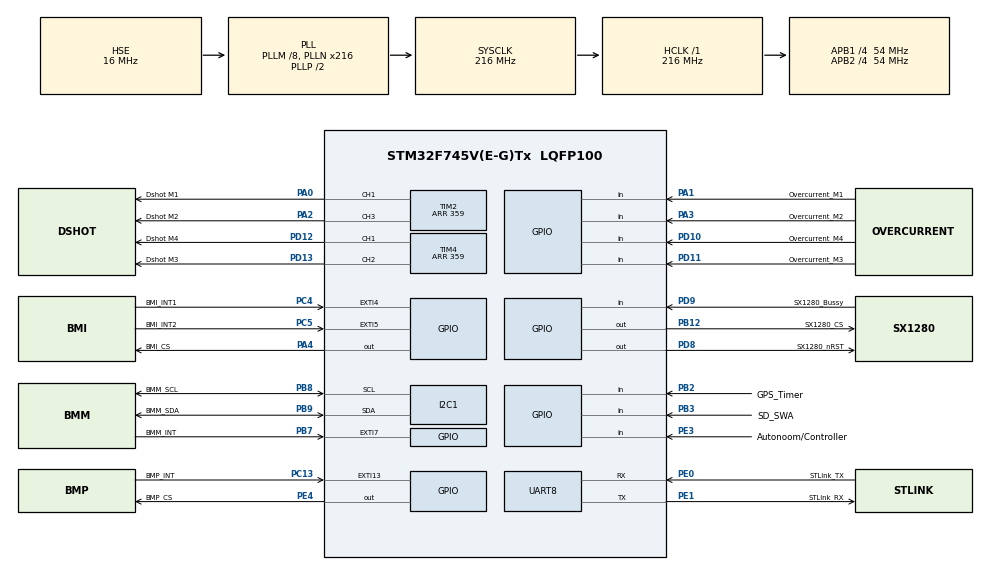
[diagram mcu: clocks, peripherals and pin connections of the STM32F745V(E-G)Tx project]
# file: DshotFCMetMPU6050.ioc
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CORTEX_M7.default_mode_Activation=1
Dma.Request0=TIM2_CH1
Dma.Request1=TIM2_UP/CH3
Dma.Request2=TIM4_CH1
Dma.Request3=TIM4_CH2
Dma.TIM2_CH1.0.Direction=DMA_MEMORY_TO_PERIPH
Dma.TIM2_CH1.0.FIFOMode=DMA_FIFOMODE_DISABLE
Dma.TIM2_CH1.0.Instance=DMA1_Stream5
Dma.TIM2_CH1.0.MemDataAlignment=DMA_MDATAALIGN_WORD
Dma.TIM2_CH1.0.MemInc=DMA_MINC_ENABLE
Dma.TIM2_CH1.0.Mode=DMA_NORMAL
Dma.TIM2_CH1.0.PeriphDataAlignment=DMA_PDATAALIGN_WORD
Dma.TIM2_CH1.0.PeriphInc=DMA_PINC_DISABLE
Dma.TIM2_CH1.0.Priority=DMA_PRIORITY_VERY_HIGH
Dma.TIM2_UP/CH3.1.Direction=DMA_MEMORY_TO_PERIPH
Dma.TIM2_UP/CH3.1.FIFOMode=DMA_FIFOMODE_DISABLE
Dma.TIM2_UP/CH3.1.Instance=DMA1_Stream1
Dma.TIM2_UP/CH3.1.MemDataAlignment=DMA_MDATAALIGN_WORD
Dma.TIM2_UP/CH3.1.MemInc=DMA_MINC_ENABLE
Dma.TIM2_UP/CH3.1.Mode=DMA_NORMAL
Dma.TIM2_UP/CH3.1.PeriphDataAlignment=DMA_PDATAALIGN_WORD
Dma.TIM2_UP/CH3.1.PeriphInc=DMA_PINC_DISABLE
Dma.TIM2_UP/CH3.1.Priority=DMA_PRIORITY_VERY_HIGH
Dma.TIM4_CH1.2.Direction=DMA_MEMORY_TO_PERIPH
Dma.TIM4_CH1.2.FIFOMode=DMA_FIFOMODE_DISABLE
Dma.TIM4_CH1.2.Instance=DMA1_Stream0
Dma.TIM4_CH1.2.MemDataAlignment=DMA_MDATAALIGN_WORD
Dma.TIM4_CH1.2.MemInc=DMA_MINC_ENABLE
Dma.TIM4_CH1.2.Mode=DMA_NORMAL
Dma.TIM4_CH1.2.PeriphDataAlignment=DMA_PDATAALIGN_WORD
Dma.TIM4_CH1.2.PeriphInc=DMA_PINC_DISABLE
Dma.TIM4_CH1.2.Priority=DMA_PRIORITY_VERY_HIGH
Dma.TIM4_CH2.3.Direction=DMA_MEMORY_TO_PERIPH
Dma.TIM4_CH2.3.FIFOMode=DMA_FIFOMODE_DISABLE
Dma.TIM4_CH2.3.Instance=DMA1_Stream3
Dma.TIM4_CH2.3.MemDataAlignment=DMA_MDATAALIGN_WORD
Dma.TIM4_CH2.3.MemInc=DMA_MINC_ENABLE
Dma.TIM4_CH2.3.Mode=DMA_NORMAL
Dma.TIM4_CH2.3.PeriphDataAlignment=DMA_PDATAALIGN_WORD
Dma.TIM4_CH2.3.PeriphInc=DMA_PINC_DISABLE
Dma.TIM4_CH2.3.Priority=DMA_PRIORITY_VERY_HIGH
I2C1.Timing=0x20404768
Mcu.Family=STM32F7
Mcu.Name=STM32F745V(E-G)Tx
Mcu.Package=LQFP100
NVIC.DMA1_Stream0_IRQn=true\:0\:0\:false\:false\:true\:false\:true\:true
NVIC.DMA1_Stream1_IRQn=true\:0\:0\:false\:false\:true\:false\:true\:true
NVIC.DMA1_Stream3_IRQn=true\:0\:0\:false\:false\:true\:false\:true\:true
NVIC.DMA1_Stream5_IRQn=true\:0\:0\:false\:false\:true\:false\:true\:true
NVIC.EXTI15_10_IRQn=true\:0\:0\:false\:false\:true\:true\:true\:true
NVIC.EXTI4_IRQn=true\:3\:0\:true\:false\:true\:true\:true\:true
NVIC.EXTI9_5_IRQn=true\:3\:0\:true\:false\:true\:true\:true\:true
NVIC.PriorityGroup=NVIC_PRIORITYGROUP_4
NVIC.TIM2_IRQn=true\:0\:0\:false\:false\:true\:true\:true\:true
NVIC.TIM4_IRQn=true\:0\:0\:false\:false\:true\:true\:true\:true
PA0/WKUP.GPIO_Label=Dshot M1
PA0/WKUP.GPIO_PuPd=GPIO_PULLDOWN
PA0/WKUP.GPIO_Speed=GPIO_SPEED_FREQ_VERY_HIGH
PA0/WKUP.Signal=S_TIM2_CH1_ETR
PA1.GPIO_Label=Overcurrent_M1
PA1.Signal=GPIO_Input
PA13.GPIO_Label=STLink_DIO
PA13.Mode=Serial_Wire
PA13.Signal=SYS_JTMS-SWDIO
PA14.GPIO_Label=STLink_CLK
PA14.Mode=Serial_Wire
PA14.Signal=SYS_JTCK-SWCLK
PA2.GPIO_Label=Dshot M2
PA2.GPIO_PuPd=GPIO_PULLDOWN
PA2.GPIO_Speed=GPIO_SPEED_FREQ_VERY_HIGH
PA2.Signal=S_TIM2_CH3
PA3.GPIO_Label=Overcurrent_M2
PA3.Signal=GPIO_Input
PA4.GPIO_Label=BMI_CS
PA4.Signal=GPIO_Output
PA5.GPIO_Label=BMI_SCK
PA5.Signal=SPI1_SCK
PA6.GPIO_Label=BMI_MISO
PA6.Signal=SPI1_MISO
PA7.GPIO_Label=BMI_MOSI
PA7.Signal=SPI1_MOSI
PB12.GPIO_Label=SX1280_CS
PB12.Signal=GPIO_Output
PB13.GPIO_Label=SX1280_SCK
PB13.Signal=SPI2_SCK
PB14.GPIO_Label=SX1280_MISO
PB14.Signal=SPI2_MISO
PB15.GPIO_Label=SX1280_MOSI
PB15.Signal=SPI2_MOSI
PB2.GPIO_Label=GPS_Timer
PB2.Signal=GPIO_Input
PB3.GPIO_Label=SD_SWA
PB3.Signal=GPIO_Input
PB7.GPIO_Label=BMM_INT
PB7.Signal=GPXTI7
PB8.GPIO_Label=BMM_SCL
PB8.Mode=I2C
PB8.Signal=I2C1_SCL
PB9.GPIO_Label=BMM_SDA
PB9.Mode=I2C
PB9.Signal=I2C1_SDA
PC10.GPIO_Label=SD_D2
PC10.Signal=SDMMC1_D2
PC11.GPIO_Label=SD_D3
PC11.Signal=SDMMC1_D3
PC12.GPIO_Label=SD_CK
PC12.Signal=SDMMC1_CK
PC13.GPIO_Label=BMP_INT
PC13.Signal=GPXTI13
PC14/OSC32_IN.Mode=LSE-External-Oscillator
PC14/OSC32_IN.Signal=RCC_OSC32_IN
PC15/OSC32_OUT.Mode=LSE-External-Oscillator
PC15/OSC32_OUT.Signal=RCC_OSC32_OUT
PC4.GPIO_Label=BMI_INT1
PC4.Signal=GPXTI4
PC5.GPIO_Label=BMI_INT2
PC5.Signal=GPXTI5
PC8.GPIO_Label=SD_D0
PC8.Signal=SDMMC1_D0
PC9.GPIO_Label=SD_D1
PC9.Signal=SDMMC1_D1
PD10.GPIO_Label=Overcurrent_M4
PD10.Signal=GPIO_Input
PD11.GPIO_Label=Overcurrent_M3
PD11.Signal=GPIO_Input
PD12.GPIO_Label=Dshot M4
PD12.GPIO_PuPd=GPIO_PULLDOWN
PD12.GPIO_Speed=GPIO_SPEED_FREQ_VERY_HIGH
PD12.Signal=S_TIM4_CH1
PD13.GPIO_Label=Dshot M3
PD13.GPIO_PuPd=GPIO_PULLDOWN
PD13.GPIO_Speed=GPIO_SPEED_FREQ_VERY_HIGH
PD13.Signal=S_TIM4_CH2
PD2.GPIO_Label=SD_CMD
PD2.Signal=SDMMC1_CMD
PD8.GPIO_Label=SX1280_nRST
PD8.Signal=GPIO_Output
PD9.GPIO_Label=SX1280_Bussy
PD9.Signal=GPIO_Input
PE0.GPIO_Label=STLink_TX
PE0.Mode=Asynchronous
PE0.Signal=UART8_RX
PE1.GPIO_Label=STLink_RX
PE1.Mode=Asynchronous
PE1.Signal=UART8_TX
PE2.GPIO_Label=BMP_SCK
PE2.Signal=SPI4_SCK
PE3.GPIO_Label=Autonoom/Controller
PE3.Signal=GPIO_Input
PE4.GPIO_Label=BMP_CS
PE4.Signal=GPIO_Output
PE5.GPIO_Label=BMP_MISO
PE5.Signal=SPI4_MISO
PE6.GPIO_Label=BMP_MOSI
PE6.Signal=SPI4_MOSI
PE7.GPIO_Label=GPS_RX
PE7.Signal=UART7_RX
PE8.GPIO_Label=GPS_TX
PE8.Signal=UART7_TX
PH0/OSC_IN.Mode=HSE-External-Oscillator
PH0/OSC_IN.Signal=RCC_OSC_IN
PH1/OSC_OUT.Mode=HSE-External-Oscillator
PH1/OSC_OUT.Signal=RCC_OSC_OUT
ProjectManager.HeapSize=0x200
ProjectManager.StackSize=0x400
ProjectManager.TargetToolchain=STM32CubeIDE
RCC.AHBFreq_Value=216000000
RCC.APB1CLKDivider=RCC_HCLK_DIV4
RCC.APB1Freq_Value=54000000
RCC.APB1TimFreq_Value=108000000
RCC.APB2CLKDivider=RCC_HCLK_DIV4
RCC.APB2Freq_Value=54000000
RCC.APB2TimFreq_Value=108000000
RCC.CortexFreq_Value=216000000
RCC.HCLKFreq_Value=216000000
RCC.HSE_VALUE=16000000
RCC.HSI_VALUE=16000000
RCC.PLLM=8
RCC.PLLN=216
RCC.PLLQ=9
RCC.PLLSourceVirtual=RCC_PLLSOURCE_HSE
RCC.SDMMCClockSelection=RCC_SDMMC1CLKSOURCE_CLK48
RCC.SYSCLKFreq_VALUE=216000000
RCC.SYSCLKSource=RCC_SYSCLKSOURCE_PLLCLK
RCC.USBFreq_Value=48000000
RCC.VCOOutputFreq_Value=432000000
SH.S_TIM2_CH1_ETR.0=TIM2_CH1,PWM Generation1 CH1
SH.S_TIM2_CH3.0=TIM2_CH3,PWM Generation3 CH3
SH.S_TIM4_CH1.0=TIM4_CH1,PWM Generation1 CH1
SH.S_TIM4_CH2.0=TIM4_CH2,PWM Generation2 CH2
TIM2.Channel-PWM\ Generation1\ CH1=TIM_CHANNEL_1
TIM2.Channel-PWM\ Generation3\ CH3=TIM_CHANNEL_3
TIM2.Period=359
TIM4.Channel-PWM\ Generation1\ CH1=TIM_CHANNEL_1
TIM4.Channel-PWM\ Generation2\ CH2=TIM_CHANNEL_2
TIM4.Period=359
UART8.SwapParam=UART_ADVFEATURE_SWAP_ENABLE
VP_TIM2_VS_ClockSourceINT.Mode=Internal
VP_TIM4_VS_ClockSourceINT.Mode=Internal
board=custom

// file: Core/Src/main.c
/* USER CODE BEGIN Header */
/**
  ******************************************************************************
  * @file           : main.c
  * @brief          : Main program body
  ******************************************************************************
  * @attention
  *
  * Copyright (c) 2026 STMicroelectronics.
  * All rights reserved.
  *
  * This software is licensed under terms that can be found in the LICENSE file
  * in the root directory of this software component.
  * If no LICENSE file comes with this software, it is provided AS-IS.
  *
  ******************************************************************************
  */
/* USER CODE END Header */
#include "main.h"

/* USER CODE BEGIN Includes */
#include "stdio.h"
#include "math.h"
//#include "BMP384.h"
//#include "BMM350.h"
//#include "BMI330.h"
#include "fc_config.h"   // alle instelbare waarden staan hier
#include "MPU6050.h"
#include "attitude.h"
#include "AnglePID.h"
#include "dshot.h"
//#include "pid_regulator.h"
/* USER CODE END Includes */

I2C_HandleTypeDef hi2c1;

TIM_HandleTypeDef htim2;
TIM_HandleTypeDef htim4;
DMA_HandleTypeDef hdma_tim2_ch1;
DMA_HandleTypeDef hdma_tim2_up_ch3;
DMA_HandleTypeDef hdma_tim4_ch1;
DMA_HandleTypeDef hdma_tim4_ch2;

UART_HandleTypeDef huart8;

/* USER CODE BEGIN PV */
/*
PID_Handle_t struct_PidRateRoll;
PID_Handle_t struct_PidRatePitch;
PID_Handle_t struct_PidRateYaw;
*/
//BMI330_Frame current_data;
//BMM350_MagData BMM350_Data;

/* USER CODE END PV */

void SystemClock_Config(void);
static void MPU_Config(void);
static void MX_GPIO_Init(void);
static void MX_DMA_Init(void);
static void MX_TIM2_Init(void);
static void MX_UART8_Init(void);
static void MX_I2C1_Init(void);
static void MX_TIM4_Init(void);

/* USER CODE BEGIN 0 */
/* Placeholders voor sensoren die nog niet in gebruik zijn (BMP384 hoogtemeting,
 * BMM350 magnetometer, BMI330 IMU). De bijbehorende code staat verderop
 * uitgecommentarieerd; zet deze variabelen terug zodra je die activeert.
 *
 * float g_hoogte, g_druk;
 * int g_new_bmm_data, g_new_bmi_data;
 */

int _write(int file, char *ptr, int len) {
	for(int i = 0; i < len; i++){
		if(ptr[i]=='\n'){
			HAL_UART_Transmit(&huart8, (uint8_t*)"\r", 1, HAL_MAX_DELAY);
		}
		HAL_UART_Transmit(&huart8, (uint8_t*)&ptr[i], 1, HAL_MAX_DELAY);
	}
    return len;
}
float accel_x, accel_y, accel_z;
float gyro_x, gyro_y, gyro_z;

// gefuseerde hoeken (graden), worden door Attitude_Update bijgewerkt
float fused_roll  = 0.0f;
float fused_pitch = 0.0f;

// Angle-mode PID's: setpoint is altijd 0 graden (waterpas). Output is een
// throttle-correctie die de mixer per motor optelt/aftrekt.
// Start voorzichtig: eerst Ki=0, Kd klein, alleen Kp opbouwen tot hij actief
// terugregelt zonder heftig te overshooten/oscilleren. Pas daarna Kd/Ki bijstellen.
PID_Angle_t pid_roll;
PID_Angle_t pid_pitch;

// Vaste montage-offset van de IMU t.o.v. het frame (graden). De sensor zit niet
// perfect waterpas op de plaat, dus "frame waterpas" != "sensor leest 0".
// Deze offset wordt bij het opstarten gemeten en van de gefuseerde hoek afgetrokken.
float roll_offset  = 0.0f;
float pitch_offset = 0.0f;

// --- microseconden-timer via DWT cycle counter, voor een nauwkeurige dt ---
static void DWT_Init(void) {
    CoreDebug->DEMCR |= CoreDebug_DEMCR_TRCENA_Msk;       // trace enablen
    // Cortex-M7 vereist een software-unlock van de DWT voor CYCCNT telt.
    // Zonder deze regel blijft CYCCNT op 0 -> dt zou altijd 0 zijn.
    *((volatile uint32_t*)0xE0001FB0) = 0xC5ACCE55;       // DWT->LAR unlock-key
    DWT->CYCCNT = 0;                                      // teller nul
    DWT->CTRL  |= DWT_CTRL_CYCCNTENA_Msk;                 // cycle counter aan
}
static inline uint32_t micros(void) {
    return DWT->CYCCNT / (SystemCoreClock / 1000000U);
}

// dshot
volatile uint8_t dshot_dma_complete = 1;

// Alle instelbare waarden staan in fc_config.h
static uint8_t motors_killed = 0;

// Zet 1 frame klaar voor alle 4 de motoren en verstuur het (met handshake op de
// vorige DMA). throttle-waarden worden hier hard begrensd op de dshot-range 0..2047.
static void motors_send(int t1, int t2, int t3, int t4) {
    int t[4] = { t1, t2, t3, t4 };
    for (int i = 0; i < 4; i++) {
        if (t[i] < 0)    t[i] = 0;
        if (t[i] > 2047) t[i] = 2047;
        // 1..47 zijn GEEN gas maar dshot-commando's (piepen, draairichting,
        // settings opslaan). Nooit per ongeluk versturen: 0 = stop, 48+ = gas.
        if (t[i] > 0 && t[i] < 48) t[i] = 0;
    }
    while (dshot_dma_complete == 0) { }   // wacht tot vorig frame verstuurd is
    dshot_dma_complete = 0;
    update_motor_buffer(0, (uint16_t)t[0], 0); // M1
    update_motor_buffer(1, (uint16_t)t[1], 0); // M2
    update_motor_buffer(2, (uint16_t)t[2], 0); // M3
    update_motor_buffer(3, (uint16_t)t[3], 0); // M4
    send_dshot();
}

// Houdt een vaste throttle-combinatie 'seconds' seconden aan.
void hold_motors(int t1, int t2, int t3, int t4, float seconds) {
    int frames = (int)(seconds * 50.0f); // ~50 frames/s bij HAL_Delay(20)
    for (int f = 0; f < frames; f++) {
        motors_send(t1, t2, t3, t4);
        HAL_Delay(20);
    }
}

// --- DSHOT-COMMANDO'S (waarden 1..47, geen gas) ---
#define DSHOT_CMD_BEEP1                     1
#define DSHOT_CMD_SPIN_DIRECTION_1          7   // oudere variant: normaal
#define DSHOT_CMD_SPIN_DIRECTION_2          8   // oudere variant: omgekeerd
#define DSHOT_CMD_SAVE_SETTINGS            12
#define DSHOT_CMD_SPIN_DIRECTION_NORMAL    20
#define DSHOT_CMD_SPIN_DIRECTION_REVERSED  21

// Stuurt een DShot-commando naar 1 motor. De overige motoren krijgen throttle 0.
// Let op: dit vult de buffer RECHTSTREEKS, want motors_send() klemt 1..47 naar 0.
// De telemetrie-bit moet 1 zijn, anders herkent de ESC het niet als commando.
// Commando's moeten herhaald worden (BLHeli wil er meestal 6 tot 10) en de ESC
// mag op dat moment NIET draaien.
void dshot_command(int idx, uint16_t cmd, int repeats) {
    for (int i = 0; i < repeats; i++) {
        while (dshot_dma_complete == 0) { }
        dshot_dma_complete = 0;
        for (int m = 0; m < 4; m++) {
            if (m == idx) {
                update_motor_buffer(m, cmd, 1); // telemetrie-bit aan
            } else {
                update_motor_buffer(m, 0, 0);
            }
        }
        send_dshot();
        HAL_Delay(2);
    }
}

// Zet de draairichting van 1 motor en slaat die op in de ESC.
// reversed = 1 -> omgekeerd, 0 -> normaal.
void dshot_set_direction(int idx, int reversed) {
#if USE_OLD_DIRECTION_CMDS
    uint16_t cmd = reversed ? DSHOT_CMD_SPIN_DIRECTION_2
                            : DSHOT_CMD_SPIN_DIRECTION_1;
#else
    uint16_t cmd = reversed ? DSHOT_CMD_SPIN_DIRECTION_REVERSED
                            : DSHOT_CMD_SPIN_DIRECTION_NORMAL;
#endif
    printf("M%d -> richting %s (cmd %u)\n", idx + 1,
           reversed ? "OMGEKEERD" : "normaal", (unsigned)cmd);

    dshot_command(idx, cmd, 10);                       // richting zetten (min. 6x)
    HAL_Delay(50);
    dshot_command(idx, DSHOT_CMD_SAVE_SETTINGS, 10);   // permanent opslaan (min. 6x)
    HAL_Delay(500);                                    // ESC bevestigt met piepjes
}

// DIAGNOSE: laat elke ESC om beurten piepen. Hoor je de piepjes, dan komen je
// DShot-commando's aan en werkt het mechanisme; dan ligt een mislukte
// richtingswissel aan de ESC-firmware. Hoor je NIETS, dan worden commando's
// helemaal niet herkend en heeft de richtingswissel ook geen kans.
// Beep-commando's moeten minstens 260 ms uit elkaar staan.
void dshot_beep_test(void) {
    printf("\n=== PIEPTEST: elke motor hoort te piepen ===\n");
    for (int m = 0; m < 4; m++) {
        printf("  M%d piep...\n", m + 1);
        dshot_command(m, DSHOT_CMD_BEEP1, 10);
        HAL_Delay(400); // beep duurt ~260 ms
    }
    printf("=== Pieptest klaar ===\n\n");
}

// Draait elke motor 1 voor 1 op 'spin' throttle (~1,5 s per motor), de rest uit.
// Zo kun je controleren of M1..M4 op de juiste plek zitten en draairichting klopt.
void test_motors_sequence(uint16_t spin) {
    for (int m = 0; m < 4; m++) {
        printf("Test motor M%d...\n", m + 1);
        int t[4] = { 0, 0, 0, 0 };
        t[m] = spin;
        hold_motors(t[0], t[1], t[2], t[3], 1.5f);
    }
    hold_motors(0, 0, 0, 0, 0.5f); // alles weer uit
}

// IDENTIFICATIE-TEST: draait TELKENS 3 MOTOREN en laat er 1 STILSTAAN.
// De stilstaande motor is degene die op dat moment wordt aangekondigd - veel
// makkelijker te zien/voelen dan 1 draaiende motor tussen 3 stille.
// Elke stap duurt 5 s, met 2 s alles-uit ertussen als duidelijke scheiding.
void test_motors_identify(uint16_t spin) {
    printf("\n=== IDENTIFICATIE: de STILSTAANDE motor is de aangekondigde ===\n");
    for (int m = 0; m < 4; m++) {
        printf("\n>>> M%d STAAT STIL (de andere 3 draaien) - kijk welke stilstaat!\n", m + 1);
        int t[4] = { spin, spin, spin, spin };
        t[m] = 0; // deze staat stil
        hold_motors(t[0], t[1], t[2], t[3], 5.0f);

        printf("    ...alles uit...\n");
        hold_motors(0, 0, 0, 0, 2.0f);
    }
    printf("\n=== Identificatie klaar ===\n\n");
}

// RAMP-TEST voor 1 motor: bouwt langzaam op van t_start naar t_end en print
// elke stap. Zo vind je exact de throttle waarbij het misgaat, en na een reset
// zie je in de terminal tot hoever hij kwam. idx is 0..3 (M1..M4).
void test_motor_ramp(int idx, int t_start, int t_end, int steps) {
    printf("\n>>> RAMP-TEST M%d: %d -> %d\n", idx + 1, t_start, t_end);
    for (int i = 0; i <= steps; i++) {
        int t = t_start + ((t_end - t_start) * i) / steps;
        int m[4] = { 0, 0, 0, 0 };
        m[idx] = t;
        motors_send(m[0], m[1], m[2], m[3]);
        printf("  M%d throttle = %d\n", idx + 1, t);
        HAL_Delay(50);
    }
    hold_motors(0, 0, 0, 0, 1.0f);
}

// PAAR-TEST: draait 2 gekozen motoren tegelijk, de andere 2 staan stil.
// Gebruik dit om te bevestigen dat je voor-paar / achter-paar klopt.
// Indices zijn 0..3 (dus M1=0, M2=1, M3=2, M4=3).
void test_motor_pair(int idx_a, int idx_b, uint16_t spin, const char *label) {
    printf("\n>>> PAAR-TEST: %s (M%d + M%d draaien)\n", label, idx_a + 1, idx_b + 1);
    int t[4] = { 0, 0, 0, 0 };
    t[idx_a] = spin;
    t[idx_b] = spin;
    hold_motors(t[0], t[1], t[2], t[3], 5.0f);
    hold_motors(0, 0, 0, 0, 2.0f);
}

// Motor-index -> fysieke positie (buffer-index = motor_id in send_dshot).
// Gemeten met test_motors_identify(): M1 = links-onder, daarna met de klok mee.
// Van boven gezien, neus naar voren:
//
//        VOOR
//    M2 -------- M3
//     |          |
//     |          |     LINKS = M1, M2      RECHTS = M3, M4
//     |          |     VOOR  = M2, M3      ACHTER = M1, M4
//    M1 -------- M4
//        ACHTER
//
//   index 0 = M1 (TIM2_CH1, PA0)   -> ACHTER-LINKS
//   index 1 = M2 (TIM2_CH3, PA2)   -> VOOR-LINKS
//   index 2 = M3 (TIM4_CH2, PD13)  -> VOOR-RECHTS
//   index 3 = M4 (TIM4_CH1, PD12)  -> ACHTER-RECHTS
//
// REGEL OM DE TEKENS TE CONTROLEREN:
// de kant die naar BENEDEN kantelt moet HARDER gaan draaien (die duwt zichzelf
// terug omhoog). Gaat juist de omhoog-kant harder draaien, keer dan alle vier
// de tekens van die as om.
// Beide assen actief. Elke motor krijgt nu de som van twee correcties, dus de
// uitslagen kunnen groter worden dan bij het testen van een enkele as.
static const int pitch_sign[4] = { +1, -1, -1, +1 }; // voor(M2,M3) = -, achter(M1,M4) = +
static const int roll_sign[4]  = { +1, +1, -1, -1 }; // links(M1,M2) = +, rechts(M3,M4) = -
static const int yaw_sign[4]   = {  0,  0,  0,  0 }; // pas invullen bij yaw-regeling

// laatst verstuurde throttle per motor, puur om te kunnen meelezen tijdens testen
static int last_motor[4] = { 0, 0, 0, 0 };

// --- IMU-ORIENTATIE ---
// Het moduletje zit mogelijk gedraaid op het frame. Test: kantel de NEUS omlaag
// en kijk welke waarde verandert. Hoort 'pitch' te zijn. Verandert 'roll'
// i.p.v. pitch, dan staat de sensor 90 graden gedraaid -> zet deze op 1.
static inline void imu_to_frame(float ax, float ay, float az, float gx, float gy,
                                 float *f_ax, float *f_ay, float *f_az,
                                 float *f_gx, float *f_gy) {
    float x = ax, y = ay, z = az, p = gx, q = gy;

#if IMU_UPSIDE_DOWN
    // 180 graden om de X-as: Y en Z keren om (Z weer omhoog)
    y = -y;  z = -z;  q = -q;
#endif

#if IMU_ROTATED_90
    // 90 graden om de Z-as: (x,y) -> (y,-x)
    float tx = y, ty = -x;
    float tp = q, tq = -p;
    x = tx;  y = ty;  p = tp;  q = tq;
#endif

    *f_ax = x;  *f_ay = y;  *f_az = z;
    *f_gx = p;  *f_gy = q;
}

// Mixer: basis-throttle + correcties per as, met tekens uit de tabellen hierboven.
// Correcties in "throttle-eenheden". Verstuurt meteen 1 frame naar alle 4 motoren.
static void Update_Motors(int base, float roll_cmd, float pitch_cmd, float yaw_cmd) {
    int mc[4];
    for (int i = 0; i < 4; i++) {
        int v = base
              + (int)(pitch_sign[i] * pitch_cmd)
              + (int)(roll_sign[i]  * roll_cmd)
              + (int)(yaw_sign[i]   * yaw_cmd);
        if (v < THROTTLE_MIN) v = THROTTLE_MIN; // motoren blijven draaien
        if (v > THROTTLE_MAX) v = THROTTLE_MAX; // veiligheidsplafond
        mc[i] = v;
        last_motor[i] = v; // voor de debug-print
    }
    motors_send(mc[0], mc[1], mc[2], mc[3]);
}
/* USER CODE END 0 */

int main(void)
{

  /* MPU Configuration--------------------------------------------------------*/
  MPU_Config();

  /* MCU Configuration--------------------------------------------------------*/

  /* Reset of all peripherals, Initializes the Flash interface and the Systick. */
  HAL_Init();

  /* USER CODE BEGIN Init */
 /* Init_RateLoops();
  BMP384_Init();
  PID_HandleInit(struct_PidRateRoll);
  PID_HandleInit(struct_PidRatePitch);
  PID_HandleInit(struct_PidRateYaw);
  */
  //BMM350_Init();
  //BMI330_Init();
  /* USER CODE END Init */

  /* Configure the system clock */
  SystemClock_Config();

  /* Initialize all configured peripherals */
  MX_GPIO_Init();
  MX_DMA_Init();
  MX_TIM2_Init();
  MX_UART8_Init();
  MX_I2C1_Init();
  MX_TIM4_Init();
  /* USER CODE BEGIN 2 */
  printf("Test1\n");

  // Waarom is de MCU (opnieuw) opgestart? BOR/POR = spanning weggezakt
  // (brownout) -> voedingsprobleem. PIN = resetknop/debugger. SFT = software.
  printf("--- RESET-OORZAAK: ");
  if (__HAL_RCC_GET_FLAG(RCC_FLAG_BORRST))  printf("BROWNOUT (BOR) - voeding zakt weg! ");
  if (__HAL_RCC_GET_FLAG(RCC_FLAG_PORRST))  printf("Power-on reset (POR) ");
  if (__HAL_RCC_GET_FLAG(RCC_FLAG_PINRST))  printf("Pin/debugger reset ");
  if (__HAL_RCC_GET_FLAG(RCC_FLAG_SFTRST))  printf("Software reset ");
  if (__HAL_RCC_GET_FLAG(RCC_FLAG_IWDGRST)) printf("Watchdog (IWDG) ");
  if (__HAL_RCC_GET_FLAG(RCC_FLAG_WWDGRST)) printf("Watchdog (WWDG) ");
  if (__HAL_RCC_GET_FLAG(RCC_FLAG_LPWRRST)) printf("Low-power reset ");
  printf("---\n");
  __HAL_RCC_CLEAR_RESET_FLAGS(); // wissen, anders blijven ze staan

  DWT_Init();       // microseconden-timer voor dt-meting
  dshot_init();     // CCR's op 0 + buffers geldig, voor het eerste frame uitgaat
  MPU6050_Init();

  // Meteen een schone stroom throttle-0 frames sturen, VOOR de kalibraties.
  // De ESC doet zijn protocol-detectie op de eerste frames die hij ziet; die
  // moeten dus geldig zijn en niet onderbroken worden.
  printf("DShot-signaal starten...\n");
  for (int i = 0; i < 100; i++) {
      motors_send(0, 0, 0, 0);
      HAL_Delay(20);
  }

  // gyro-offset wegkalibreren: plaat moet hierbij STIL liggen
  printf("Gyro kalibreren, plaat stil houden...\n");
  MPU6050_Calibrate_Gyro(GYRO_CALIB_SAMPLES);
  printf("Gyro gekalibreerd.\n");

  // Montage-offset van de IMU meten: het FRAME moet hierbij waterpas staan.
  // Wat de sensor dan leest is puur de scheefstand van het moduletje, en die
  // trekken we er voortaan af zodat "frame waterpas" ook echt 0 graden geeft.
  printf("Level kalibreren, frame WATERPAS en stil houden...\n");
  {
      float sum_r = 0.0f, sum_p = 0.0f;
      const int n = LEVEL_CALIB_SAMPLES;
      for (int i = 0; i < n; i++) {
          float ax, ay, az, r, p;
          float fax, fay, faz, dummy_gx, dummy_gy;
          MPU6050_Read_Accel(&ax, &ay, &az);
          imu_to_frame(ax, ay, az, 0.0f, 0.0f, &fax, &fay, &faz, &dummy_gx, &dummy_gy);
          Attitude_AccelAngles(fax, fay, faz, &r, &p);
          sum_r += r;
          sum_p += p;
          HAL_Delay(2);
      }
      roll_offset  = sum_r / (float)n;
      pitch_offset = sum_p / (float)n;

      // filter alvast op de gemeten stand zetten, scheelt insteltijd
      fused_roll  = roll_offset;
      fused_pitch = pitch_offset;
  }
  printf("Level offset: roll=%.2f  pitch=%.2f graden\n", roll_offset, pitch_offset);

  // Angle-PID's initialiseren: setpoint is 0 graden, gains hieronder zijn een
  // VOORZICHTIG startpunt. Begin met alleen Kp (Ki/Kd op 0), verhoog stap voor
  // stap tot de plaat actief terugregelt zonder hard te oscilleren. Voeg dan
  // pas een klein beetje Kd toe om overshoot te dempen, en tot slot een kleine
  // Ki om een blijvende scheve stand weg te regelen.
  // Argumenten: kp, ki, kd, integral_limit, output_limit
  // output_limit 300 = de PID mag een motor 300 boven/onder de basis zetten.
  // Stond op 100, dat was te weinig om het frame echt terug te duwen.
  PID_Angle_Init(&pid_roll,  PID_KP, PID_KI, PID_KD,
                 PID_INTEGRAL_LIMIT, PID_OUTPUT_LIMIT);
  PID_Angle_Init(&pid_pitch, PID_KP, PID_KI, PID_KD,
                 PID_INTEGRAL_LIMIT, PID_OUTPUT_LIMIT);
  pid_roll.d_cutoff_hz  = PID_D_CUTOFF_HZ;
  pid_pitch.d_cutoff_hz = PID_D_CUTOFF_HZ;

  // DShot arming: de ESC accepteert pas gas na een langere periode throttle=0.
  // Eerst wachten tot de ESC zelf klaar is met opstarten (piepjes), daarna een
  // ruime nul-periode. Te kort armen = motoren negeren het eerste gascommando,
  // precies het gedrag waarbij de eerste test niets deed.
  HAL_Delay(3000);
  printf("Start Arming (5 s throttle 0)...\n");
  for (int i = 0; i < 250; i++) {
      motors_send(0, 0, 0, 0); // alle 4 motoren throttle 0
      HAL_Delay(20);
  }
  printf("Armed!\n");

  // EENMALIG: draairichting van M2 en M4 omkeren en opslaan in de ESC.
  // Zet SET_MOTOR_DIRECTIONS op 1, flash, laat draaien, zet daarna terug op 0.
  // De instelling blijft in de ESC staan, ook na spanningloos maken.
  // Doe dit met de PROPELLERS ERAF.
#if SET_MOTOR_DIRECTIONS
  // Eerst piepen: hoor je dit niet, dan komen commando's sowieso niet aan
  // en heeft de richtingswissel hieronder geen enkele kans.
  dshot_beep_test();

  printf("\n=== DRAAIRICHTING INSTELLEN (props eraf!) ===\n");
  dshot_set_direction(0, 0); // M1 normaal
  dshot_set_direction(2, 0); // M3 normaal
  dshot_set_direction(1, 1); // M2 omgekeerd
  dshot_set_direction(3, 1); // M4 omgekeerd
  printf("=== Klaar. Zet SET_MOTOR_DIRECTIONS terug op 0 ===\n\n");
#endif

  // IDENTIFICATIE: telkens draaien er 3 en staat er 1 stil. De stilstaande is
  // degene die geprint wordt -> zo zie je welke fysieke motor M1..M4 is.
  // Zet deze regel in commentaar zodra je de indeling kent.
  // VERWIJDER PROPELLERS bij deze test!
  //test_motors_identify(THROTTLE_BASE);

  // Zodra je weet welke voor/achter zitten, kun je hiermee je paren bevestigen:
  // test_motor_pair(0, 3, THROTTLE_BASE, "vermoedelijk VOOR");
  // test_motor_pair(1, 2, THROTTLE_BASE, "vermoedelijk ACHTER");

  //printf("Motortest klaar, start PID-regeling.\n");

  // SOFT-START: throttle rustig opbouwen van 0 naar THROTTLE_BASE.
  // Een sprong van 0 naar volle basis-throttle laat sommige ESC's weigeren of
  // uit sync lopen. De identificatie-test deed dit vroeger onbedoeld voor ons.
  // Ramp begint bij 48 (laagste geldige gaswaarde), NIET bij 0: alles tussen
  // 1 en 47 zijn dshot-commando's en geen gas.
  // Ramp over ~4 s i.p.v. 1 s. Vier motoren die samen snel opspinnen trekken een
  // flinke stroompiek; zakt de accuspanning daardoor te ver weg, dan reset de
  // STM32 (brownout) en begint alles opnieuw. Langzaam opbouwen beperkt die piek
  // en laat je in de terminal zien BIJ WELKE throttle het misgaat.
  printf("Soft-start naar throttle %d...\n", THROTTLE_BASE);
  for (int i = 0; i <= 200; i++) {
      int t = 48 + ((THROTTLE_BASE - 48) * i) / 200;
      motors_send(t, t, t, t);
      if ((i % 20) == 0) printf("  ramp throttle = %d\n", t);
      HAL_Delay(20);
  }
  printf("Soft-start klaar, start PID-regeling.\n");

  // integraal/vorige-fout op 0: opgebouwde ruis uit arming/test mag niet meetellen
  PID_Angle_Reset(&pid_roll);
  PID_Angle_Reset(&pid_pitch);
  /* USER CODE END 2 */

  /* Infinite loop */
  /* USER CODE BEGIN WHILE */
  uint32_t cyc_prev = DWT->CYCCNT; // ruwe cycle-teller, starttijd voor de eerste dt
  float test_time = 0.0f;          // looptijd sinds start regeling, voor de failsafe-timeout
  while (1)
  {
	  MPU6050_Read_Accel(&accel_x, &accel_y, &accel_z);
	  MPU6050_Read_Gyro(&gyro_x, &gyro_y, &gyro_z);

	  // werkelijke tijd sinds de vorige iteratie meten (in seconden).
	  // ruwe 32-bit cycle-teller -> unsigned aftrek is wrap-veilig
	  uint32_t cyc_now = DWT->CYCCNT;
	  float dt_meas = (uint32_t)(cyc_now - cyc_prev) / (float)SystemCoreClock;
	  cyc_prev = cyc_now;

	  // sensor-assen naar frame-assen mappen (zie IMU_ROTATED_90 bovenaan)
	  float f_ax, f_ay, f_az, f_gx, f_gy;
	  imu_to_frame(accel_x, accel_y, accel_z, gyro_x, gyro_y,
	               &f_ax, &f_ay, &f_az, &f_gx, &f_gy);

	  // sensorfusie: complementair filter blend gyro (snel) met accel (stabiel)
	  Attitude_Update(f_ax, f_ay, f_az,
	                  f_gx, f_gy, gyro_z,
	                  dt_meas, &fused_roll, &fused_pitch);

	  // montage-offset eraf: dit zijn de hoeken van het FRAME, niet van de sensor
	  float roll_level  = fused_roll  - roll_offset;
	  float pitch_level = fused_pitch - pitch_offset;

	  // FAILSAFE: te ver doorgeslagen of testtijd om -> motoren definitief uit.
	  // Dit vangt o.a. een verkeerd mixer-teken op, waarbij de regeling zichzelf
	  // opjaagt in plaats van terugregelt.
	  test_time += dt_meas;
	  if (!motors_killed) {
	      // Beide assen bewaken: de as die je test kan doorslaan, en de andere
	      // hoort juist vlak te blijven - loopt die weg, dan is er iets mis.
	      if (roll_level  >  FAILSAFE_ANGLE || roll_level  < -FAILSAFE_ANGLE ||
	          pitch_level >  FAILSAFE_ANGLE || pitch_level < -FAILSAFE_ANGLE) {
	          motors_killed = 1;
	          printf("\n!!! FAILSAFE: hoek te groot (roll=%.1f pitch=%.1f) - MOTOREN UIT !!!\n",
	                 roll_level, pitch_level);
	      } else if (test_time > FAILSAFE_TIMEOUT) {
	          motors_killed = 1;
	          printf("\n!!! FAILSAFE: testtijd van %.0f s voorbij - MOTOREN UIT !!!\n",
	                 (double)FAILSAFE_TIMEOUT);
	      }
	  }

	  if (motors_killed) {
	      motors_send(0, 0, 0, 0); // alles uit en uit houden
	      HAL_Delay(20);
	      continue;
	  }

	  // angle-mode PID: setpoint 0 graden (frame waterpas) vs de gemeten hoek.
	  // Output is een throttle-correctie die de mixer per motor toepast.
	  // D-term uit de gyro (f_gx = rolsnelheid, f_gy = pitchsnelheid, graden/s).
	  // Maakt de demping veel rustiger dan het differentieren van de hoek.
	  float roll_cmd  = PID_Angle_UpdateRate(&pid_roll,  0.0f, roll_level,  f_gx, dt_meas);
	  float pitch_cmd = PID_Angle_UpdateRate(&pid_pitch, 0.0f, pitch_level, f_gy, dt_meas);

#if ANGLE_CHECK_ONLY
	  // Controlestand: motoren blijven UIT, we printen alleen de hoeken.
	  // Hiermee check je veilig of de IMU-oriëntatie en de offsets kloppen.
	  motors_send(0, 0, 0, 0);
#else
	  // mixer verstuurt meteen een frame naar alle 4 de motoren (met handshake)
	  Update_Motors(THROTTLE_BASE, roll_cmd, pitch_cmd, 0.0f);
#endif

	  // pitch/roll in graden, de PID-correcties, en wat elke motor werkelijk krijgt.
	  // ACHTER = M1,M4   VOOR = M2,M3   LINKS = M1,M2   RECHTS = M3,M4
	  printf("pitch=%6.1f roll=%6.1f | p_cmd=%6.1f r_cmd=%6.1f | M1=%4d M2=%4d M3=%4d M4=%4d | dt=%.4f\n",
	         pitch_level, roll_level, pitch_cmd, roll_cmd,
	         last_motor[0], last_motor[1], last_motor[2], last_motor[3], dt_meas);

	  HAL_Delay(1); // pacing; Update_Motors doet zelf de dshot-handshake

    /* USER CODE END WHILE */

  }
}

void SystemClock_Config(void)
{
  RCC_OscInitTypeDef RCC_OscInitStruct = {0};
  RCC_ClkInitTypeDef RCC_ClkInitStruct = {0};

  /** Configure LSE Drive Capability
  */
  HAL_PWR_EnableBkUpAccess();

  /** Configure the main internal regulator output voltage
  */
  __HAL_RCC_PWR_CLK_ENABLE();
  __HAL_PWR_VOLTAGESCALING_CONFIG(PWR_REGULATOR_VOLTAGE_SCALE1);

  /** Initializes the RCC Oscillators according to the specified parameters
  * in the RCC_OscInitTypeDef structure.
  */
  RCC_OscInitStruct.OscillatorType = RCC_OSCILLATORTYPE_HSE;
  RCC_OscInitStruct.HSEState = RCC_HSE_ON;
  RCC_OscInitStruct.PLL.PLLState = RCC_PLL_ON;
  RCC_OscInitStruct.PLL.PLLSource = RCC_PLLSOURCE_HSE;
  RCC_OscInitStruct.PLL.PLLM = 8;
  RCC_OscInitStruct.PLL.PLLN = 216;
  RCC_OscInitStruct.PLL.PLLP = RCC_PLLP_DIV2;
  RCC_OscInitStruct.PLL.PLLQ = 9;
  if (HAL_RCC_OscConfig(&RCC_OscInitStruct) != HAL_OK)
  {
    Error_Handler();
  }

  /** Activate the Over-Drive mode
  */
  if (HAL_PWREx_EnableOverDrive() != HAL_OK)
  {
    Error_Handler();
  }

  /** Initializes the CPU, AHB and APB buses clocks
  */
  RCC_ClkInitStruct.ClockType = RCC_CLOCKTYPE_HCLK|RCC_CLOCKTYPE_SYSCLK
                              |RCC_CLOCKTYPE_PCLK1|RCC_CLOCKTYPE_PCLK2;
  RCC_ClkInitStruct.SYSCLKSource = RCC_SYSCLKSOURCE_PLLCLK;
  RCC_ClkInitStruct.AHBCLKDivider = RCC_SYSCLK_DIV1;
  RCC_ClkInitStruct.APB1CLKDivider = RCC_HCLK_DIV4;
  RCC_ClkInitStruct.APB2CLKDivider = RCC_HCLK_DIV4;

  if (HAL_RCC_ClockConfig(&RCC_ClkInitStruct, FLASH_LATENCY_7) != HAL_OK)
  {
    Error_Handler();
  }
}

static void MX_I2C1_Init(void)
{

  hi2c1.Instance = I2C1;
  hi2c1.Init.Timing = 0x20404768;
  hi2c1.Init.OwnAddress1 = 0;
  hi2c1.Init.AddressingMode = I2C_ADDRESSINGMODE_7BIT;
  hi2c1.Init.DualAddressMode = I2C_DUALADDRESS_DISABLE;
  hi2c1.Init.OwnAddress2 = 0;
  hi2c1.Init.OwnAddress2Masks = I2C_OA2_NOMASK;
  hi2c1.Init.GeneralCallMode = I2C_GENERALCALL_DISABLE;
  hi2c1.Init.NoStretchMode = I2C_NOSTRETCH_DISABLE;
  if (HAL_I2C_Init(&hi2c1) != HAL_OK)
  {
    Error_Handler();
  }

  /** Configure Analogue filter
  */
  if (HAL_I2CEx_ConfigAnalogFilter(&hi2c1, I2C_ANALOGFILTER_ENABLE) != HAL_OK)
  {
    Error_Handler();
  }

  /** Configure Digital filter
  */
  if (HAL_I2CEx_ConfigDigitalFilter(&hi2c1, 0) != HAL_OK)
  {
    Error_Handler();
  }

}

static void MX_TIM2_Init(void)
{

  TIM_ClockConfigTypeDef sClockSourceConfig = {0};
  TIM_MasterConfigTypeDef sMasterConfig = {0};
  TIM_OC_InitTypeDef sConfigOC = {0};

  htim2.Instance = TIM2;
  htim2.Init.Prescaler = 0;
  htim2.Init.CounterMode = TIM_COUNTERMODE_UP;
  htim2.Init.Period = 359;
  htim2.Init.ClockDivision = TIM_CLOCKDIVISION_DIV1;
  htim2.Init.AutoReloadPreload = TIM_AUTORELOAD_PRELOAD_DISABLE;
  if (HAL_TIM_Base_Init(&htim2) != HAL_OK)
  {
    Error_Handler();
  }
  sClockSourceConfig.ClockSource = TIM_CLOCKSOURCE_INTERNAL;
  if (HAL_TIM_ConfigClockSource(&htim2, &sClockSourceConfig) != HAL_OK)
  {
    Error_Handler();
  }
  if (HAL_TIM_PWM_Init(&htim2) != HAL_OK)
  {
    Error_Handler();
  }
  sMasterConfig.MasterOutputTrigger = TIM_TRGO_RESET;
  sMasterConfig.MasterSlaveMode = TIM_MASTERSLAVEMODE_DISABLE;
  if (HAL_TIMEx_MasterConfigSynchronization(&htim2, &sMasterConfig) != HAL_OK)
  {
    Error_Handler();
  }
  sConfigOC.OCMode = TIM_OCMODE_PWM1;
  sConfigOC.Pulse = 0;
  sConfigOC.OCPolarity = TIM_OCPOLARITY_HIGH;
  sConfigOC.OCFastMode = TIM_OCFAST_DISABLE;
  if (HAL_TIM_PWM_ConfigChannel(&htim2, &sConfigOC, TIM_CHANNEL_1) != HAL_OK)
  {
    Error_Handler();
  }
  if (HAL_TIM_PWM_ConfigChannel(&htim2, &sConfigOC, TIM_CHANNEL_3) != HAL_OK)
  {
    Error_Handler();
  }
  HAL_TIM_MspPostInit(&htim2);

}

static void MX_TIM4_Init(void)
{

  TIM_ClockConfigTypeDef sClockSourceConfig = {0};
  TIM_MasterConfigTypeDef sMasterConfig = {0};
  TIM_OC_InitTypeDef sConfigOC = {0};

  htim4.Instance = TIM4;
  htim4.Init.Prescaler = 0;
  htim4.Init.CounterMode = TIM_COUNTERMODE_UP;
  htim4.Init.Period = 359;
  htim4.Init.ClockDivision = TIM_CLOCKDIVISION_DIV1;
  htim4.Init.AutoReloadPreload = TIM_AUTORELOAD_PRELOAD_DISABLE;
  if (HAL_TIM_Base_Init(&htim4) != HAL_OK)
  {
    Error_Handler();
  }
  sClockSourceConfig.ClockSource = TIM_CLOCKSOURCE_INTERNAL;
  if (HAL_TIM_ConfigClockSource(&htim4, &sClockSourceConfig) != HAL_OK)
  {
    Error_Handler();
  }
  if (HAL_TIM_PWM_Init(&htim4) != HAL_OK)
  {
    Error_Handler();
  }
  sMasterConfig.MasterOutputTrigger = TIM_TRGO_RESET;
  sMasterConfig.MasterSlaveMode = TIM_MASTERSLAVEMODE_DISABLE;
  if (HAL_TIMEx_MasterConfigSynchronization(&htim4, &sMasterConfig) != HAL_OK)
  {
    Error_Handler();
  }
  sConfigOC.OCMode = TIM_OCMODE_PWM1;
  sConfigOC.Pulse = 0;
  sConfigOC.OCPolarity = TIM_OCPOLARITY_HIGH;
  sConfigOC.OCFastMode = TIM_OCFAST_DISABLE;
  if (HAL_TIM_PWM_ConfigChannel(&htim4, &sConfigOC, TIM_CHANNEL_1) != HAL_OK)
  {
    Error_Handler();
  }
  if (HAL_TIM_PWM_ConfigChannel(&htim4, &sConfigOC, TIM_CHANNEL_2) != HAL_OK)
  {
    Error_Handler();
  }
  HAL_TIM_MspPostInit(&htim4);

}

static void MX_UART8_Init(void)
{

  huart8.Instance = UART8;
  huart8.Init.BaudRate = 115200;
  huart8.Init.WordLength = UART_WORDLENGTH_8B;
  huart8.Init.StopBits = UART_STOPBITS_1;
  huart8.Init.Parity = UART_PARITY_NONE;
  huart8.Init.Mode = UART_MODE_TX_RX;
  huart8.Init.HwFlowCtl = UART_HWCONTROL_NONE;
  huart8.Init.OverSampling = UART_OVERSAMPLING_16;
  huart8.Init.OneBitSampling = UART_ONE_BIT_SAMPLE_DISABLE;
  huart8.AdvancedInit.AdvFeatureInit = UART_ADVFEATURE_SWAP_INIT;
  huart8.AdvancedInit.Swap = UART_ADVFEATURE_SWAP_ENABLE;
  if (HAL_UART_Init(&huart8) != HAL_OK)
  {
    Error_Handler();
  }

}

static void MX_DMA_Init(void)
{

  /* DMA controller clock enable */
  __HAL_RCC_DMA1_CLK_ENABLE();

  /* DMA interrupt init */
  /* DMA1_Stream0_IRQn interrupt configuration */
  HAL_NVIC_SetPriority(DMA1_Stream0_IRQn, 0, 0);
  HAL_NVIC_EnableIRQ(DMA1_Stream0_IRQn);
  /* DMA1_Stream1_IRQn interrupt configuration */
  HAL_NVIC_SetPriority(DMA1_Stream1_IRQn, 0, 0);
  HAL_NVIC_EnableIRQ(DMA1_Stream1_IRQn);
  /* DMA1_Stream3_IRQn interrupt configuration */
  HAL_NVIC_SetPriority(DMA1_Stream3_IRQn, 0, 0);
  HAL_NVIC_EnableIRQ(DMA1_Stream3_IRQn);
  /* DMA1_Stream5_IRQn interrupt configuration */
  HAL_NVIC_SetPriority(DMA1_Stream5_IRQn, 0, 0);
  HAL_NVIC_EnableIRQ(DMA1_Stream5_IRQn);

}

static void MX_GPIO_Init(void)
{
  GPIO_InitTypeDef GPIO_InitStruct = {0};

  /* GPIO Ports Clock Enable */
  __HAL_RCC_GPIOE_CLK_ENABLE();
  __HAL_RCC_GPIOC_CLK_ENABLE();
  __HAL_RCC_GPIOH_CLK_ENABLE();
  __HAL_RCC_GPIOA_CLK_ENABLE();
  __HAL_RCC_GPIOB_CLK_ENABLE();
  __HAL_RCC_GPIOD_CLK_ENABLE();

  /*Configure GPIO pin Output Level */
  HAL_GPIO_WritePin(BMP_CS_GPIO_Port, BMP_CS_Pin, GPIO_PIN_RESET);

  /*Configure GPIO pin Output Level */
  HAL_GPIO_WritePin(BMI_CS_GPIO_Port, BMI_CS_Pin, GPIO_PIN_RESET);

  /*Configure GPIO pin Output Level */
  HAL_GPIO_WritePin(SX1280_CS_GPIO_Port, SX1280_CS_Pin, GPIO_PIN_RESET);

  /*Configure GPIO pin Output Level */
  HAL_GPIO_WritePin(SX1280_nRST_GPIO_Port, SX1280_nRST_Pin, GPIO_PIN_RESET);

  /*Configure GPIO pins : BMP_SCK_Pin BMP_MISO_Pin BMP_MOSI_Pin */
  GPIO_InitStruct.Pin = BMP_SCK_Pin|BMP_MISO_Pin|BMP_MOSI_Pin;
  GPIO_InitStruct.Mode = GPIO_MODE_AF_PP;
  GPIO_InitStruct.Pull = GPIO_NOPULL;
  GPIO_InitStruct.Speed = GPIO_SPEED_FREQ_VERY_HIGH;
  GPIO_InitStruct.Alternate = GPIO_AF5_SPI4;
  HAL_GPIO_Init(GPIOE, &GPIO_InitStruct);

  /*Configure GPIO pin : Autonoom_Controller_Pin */
  GPIO_InitStruct.Pin = Autonoom_Controller_Pin;
  GPIO_InitStruct.Mode = GPIO_MODE_INPUT;
  GPIO_InitStruct.Pull = GPIO_NOPULL;
  HAL_GPIO_Init(Autonoom_Controller_GPIO_Port, &GPIO_InitStruct);

  /*Configure GPIO pin : BMP_CS_Pin */
  GPIO_InitStruct.Pin = BMP_CS_Pin;
  GPIO_InitStruct.Mode = GPIO_MODE_OUTPUT_PP;
  GPIO_InitStruct.Pull = GPIO_NOPULL;
  GPIO_InitStruct.Speed = GPIO_SPEED_FREQ_LOW;
  HAL_GPIO_Init(BMP_CS_GPIO_Port, &GPIO_InitStruct);

  /*Configure GPIO pins : BMP_INT_Pin BMI_INT1_Pin BMI_INT2_Pin */
  GPIO_InitStruct.Pin = BMP_INT_Pin|BMI_INT1_Pin|BMI_INT2_Pin;
  GPIO_InitStruct.Mode = GPIO_MODE_IT_RISING;
  GPIO_InitStruct.Pull = GPIO_NOPULL;
  HAL_GPIO_Init(GPIOC, &GPIO_InitStruct);

  /*Configure GPIO pins : Overcurrent_M1_Pin Overcurrent_M2_Pin */
  GPIO_InitStruct.Pin = Overcurrent_M1_Pin|Overcurrent_M2_Pin;
  GPIO_InitStruct.Mode = GPIO_MODE_INPUT;
  GPIO_InitStruct.Pull = GPIO_NOPULL;
  HAL_GPIO_Init(GPIOA, &GPIO_InitStruct);

  /*Configure GPIO pin : BMI_CS_Pin */
  GPIO_InitStruct.Pin = BMI_CS_Pin;
  GPIO_InitStruct.Mode = GPIO_MODE_OUTPUT_PP;
  GPIO_InitStruct.Pull = GPIO_NOPULL;
  GPIO_InitStruct.Speed = GPIO_SPEED_FREQ_LOW;
  HAL_GPIO_Init(BMI_CS_GPIO_Port, &GPIO_InitStruct);

  /*Configure GPIO pins : BMI_SCK_Pin BMI_MISO_Pin BMI_MOSI_Pin */
  GPIO_InitStruct.Pin = BMI_SCK_Pin|BMI_MISO_Pin|BMI_MOSI_Pin;
  GPIO_InitStruct.Mode = GPIO_MODE_AF_PP;
  GPIO_InitStruct.Pull = GPIO_NOPULL;
  GPIO_InitStruct.Speed = GPIO_SPEED_FREQ_VERY_HIGH;
  GPIO_InitStruct.Alternate = GPIO_AF5_SPI1;
  HAL_GPIO_Init(GPIOA, &GPIO_InitStruct);

  /*Configure GPIO pins : GPS_Timer_Pin SD_SWA_Pin */
  GPIO_InitStruct.Pin = GPS_Timer_Pin|SD_SWA_Pin;
  GPIO_InitStruct.Mode = GPIO_MODE_INPUT;
  GPIO_InitStruct.Pull = GPIO_NOPULL;
  HAL_GPIO_Init(GPIOB, &GPIO_InitStruct);

  /*Configure GPIO pins : GPS_RX_Pin GPS_TX_Pin */
  GPIO_InitStruct.Pin = GPS_RX_Pin|GPS_TX_Pin;
  GPIO_InitStruct.Mode = GPIO_MODE_AF_PP;
  GPIO_InitStruct.Pull = GPIO_NOPULL;
  GPIO_InitStruct.Speed = GPIO_SPEED_FREQ_VERY_HIGH;
  GPIO_InitStruct.Alternate = GPIO_AF8_UART7;
  HAL_GPIO_Init(GPIOE, &GPIO_InitStruct);

  /*Configure GPIO pin : SX1280_CS_Pin */
  GPIO_InitStruct.Pin = SX1280_CS_Pin;
  GPIO_InitStruct.Mode = GPIO_MODE_OUTPUT_PP;
  GPIO_InitStruct.Pull = GPIO_NOPULL;
  GPIO_InitStruct.Speed = GPIO_SPEED_FREQ_LOW;
  HAL_GPIO_Init(SX1280_CS_GPIO_Port, &GPIO_InitStruct);

  /*Configure GPIO pins : SX1280_SCK_Pin SX1280_MISO_Pin SX1280_MOSI_Pin */
  GPIO_InitStruct.Pin = SX1280_SCK_Pin|SX1280_MISO_Pin|SX1280_MOSI_Pin;
  GPIO_InitStruct.Mode = GPIO_MODE_AF_PP;
  GPIO_InitStruct.Pull = GPIO_NOPULL;
  GPIO_InitStruct.Speed = GPIO_SPEED_FREQ_VERY_HIGH;
  GPIO_InitStruct.Alternate = GPIO_AF5_SPI2;
  HAL_GPIO_Init(GPIOB, &GPIO_InitStruct);

  /*Configure GPIO pin : SX1280_nRST_Pin */
  GPIO_InitStruct.Pin = SX1280_nRST_Pin;
  GPIO_InitStruct.Mode = GPIO_MODE_OUTPUT_PP;
  GPIO_InitStruct.Pull = GPIO_NOPULL;
  GPIO_InitStruct.Speed = GPIO_SPEED_FREQ_LOW;
  HAL_GPIO_Init(SX1280_nRST_GPIO_Port, &GPIO_InitStruct);

  /*Configure GPIO pins : SX1280_Bussy_Pin Overcurrent_M4_Pin Overcurrent_M3_Pin */
  GPIO_InitStruct.Pin = SX1280_Bussy_Pin|Overcurrent_M4_Pin|Overcurrent_M3_Pin;
  GPIO_InitStruct.Mode = GPIO_MODE_INPUT;
  GPIO_InitStruct.Pull = GPIO_NOPULL;
  HAL_GPIO_Init(GPIOD, &GPIO_InitStruct);

  /*Configure GPIO pins : SD_D0_Pin SD_D1_Pin SD_D2_Pin SD_D3_Pin
                           SD_CK_Pin */
  GPIO_InitStruct.Pin = SD_D0_Pin|SD_D1_Pin|SD_D2_Pin|SD_D3_Pin
                          |SD_CK_Pin;
  GPIO_InitStruct.Mode = GPIO_MODE_AF_PP;
  GPIO_InitStruct.Pull = GPIO_NOPULL;
  GPIO_InitStruct.Speed = GPIO_SPEED_FREQ_VERY_HIGH;
  GPIO_InitStruct.Alternate = GPIO_AF12_SDMMC1;
  HAL_GPIO_Init(GPIOC, &GPIO_InitStruct);

  /*Configure GPIO pin : SD_CMD_Pin */
  GPIO_InitStruct.Pin = SD_CMD_Pin;
  GPIO_InitStruct.Mode = GPIO_MODE_AF_PP;
  GPIO_InitStruct.Pull = GPIO_NOPULL;
  GPIO_InitStruct.Speed = GPIO_SPEED_FREQ_VERY_HIGH;
  GPIO_InitStruct.Alternate = GPIO_AF12_SDMMC1;
  HAL_GPIO_Init(SD_CMD_GPIO_Port, &GPIO_InitStruct);

  /*Configure GPIO pin : BMM_INT_Pin */
  GPIO_InitStruct.Pin = BMM_INT_Pin;
  GPIO_InitStruct.Mode = GPIO_MODE_IT_RISING;
  GPIO_InitStruct.Pull = GPIO_NOPULL;
  HAL_GPIO_Init(BMM_INT_GPIO_Port, &GPIO_InitStruct);

  /* EXTI interrupt init*/
  HAL_NVIC_SetPriority(EXTI4_IRQn, 3, 0);
  HAL_NVIC_EnableIRQ(EXTI4_IRQn);

  HAL_NVIC_SetPriority(EXTI9_5_IRQn, 3, 0);
  HAL_NVIC_EnableIRQ(EXTI9_5_IRQn);

  HAL_NVIC_SetPriority(EXTI15_10_IRQn, 0, 0);
  HAL_NVIC_EnableIRQ(EXTI15_10_IRQn);

}

/* USER CODE BEGIN 4 */
/* De actieve mixer staat bovenin dit bestand (Update_Motors met tekentabellen). */

void HAL_GPIO_EXTI_Callback(uint16_t GPIO_Pin)
{
/*
    if (GPIO_Pin == GPIO_PIN_4)	//INT1 van BMI
    {
    	g_new_bmi_data = 1;
    	return;
    }

    if (GPIO_Pin == GPIO_PIN_5)	//INT2 van BMI
    {
    	return;
    }
    if (GPIO_Pin == GPIO_PIN_7)	//INT van BMM350
    {
    	g_new_bmm_data = 1;
    	return;
    }
    */
    /*
    if (GPIO_Pin == GPIO_PIN_13) //INT van BMP
    {
    	float druk = BMP384_ReadData();
    	float hoogte = BMP384_CalculateAltitude(druk);

    	printf("BMP384 Data: \n");
    	printf("BMP druk = %f, hoogte = %f", druk, hoogte);
    	g_druk = druk;
    	g_hoogte = hoogte;
    	return;
    }
    */
}

void HAL_TIM_PWM_PulseFinishedCallback(TIM_HandleTypeDef *htim)
{
    if (htim->Instance == TIM2 && htim->Channel == HAL_TIM_ACTIVE_CHANNEL_1)
    {
        dshot_dma_complete = 1; // dshot-lijn is weer vrij voor een nieuw frame
    }
}
/* USER CODE END 4 */

 /* MPU Configuration */

void MPU_Config(void)
{
  MPU_Region_InitTypeDef MPU_InitStruct = {0};

  /* Disables the MPU */
  HAL_MPU_Disable();

  /** Initializes and configures the Region and the memory to be protected
  */
  MPU_InitStruct.Enable = MPU_REGION_ENABLE;
  MPU_InitStruct.Number = MPU_REGION_NUMBER0;
  MPU_InitStruct.BaseAddress = 0x0;
  MPU_InitStruct.Size = MPU_REGION_SIZE_4GB;
  MPU_InitStruct.SubRegionDisable = 0x87;
  MPU_InitStruct.TypeExtField = MPU_TEX_LEVEL0;
  MPU_InitStruct.AccessPermission = MPU_REGION_NO_ACCESS;
  MPU_InitStruct.DisableExec = MPU_INSTRUCTION_ACCESS_DISABLE;
  MPU_InitStruct.IsShareable = MPU_ACCESS_SHAREABLE;
  MPU_InitStruct.IsCacheable = MPU_ACCESS_NOT_CACHEABLE;
  MPU_InitStruct.IsBufferable = MPU_ACCESS_NOT_BUFFERABLE;

  HAL_MPU_ConfigRegion(&MPU_InitStruct);
  /* Enables the MPU */
  HAL_MPU_Enable(MPU_PRIVILEGED_DEFAULT);

}

void Error_Handler(void)
{
  __disable_irq();
  while (1)
  {
  }
}
